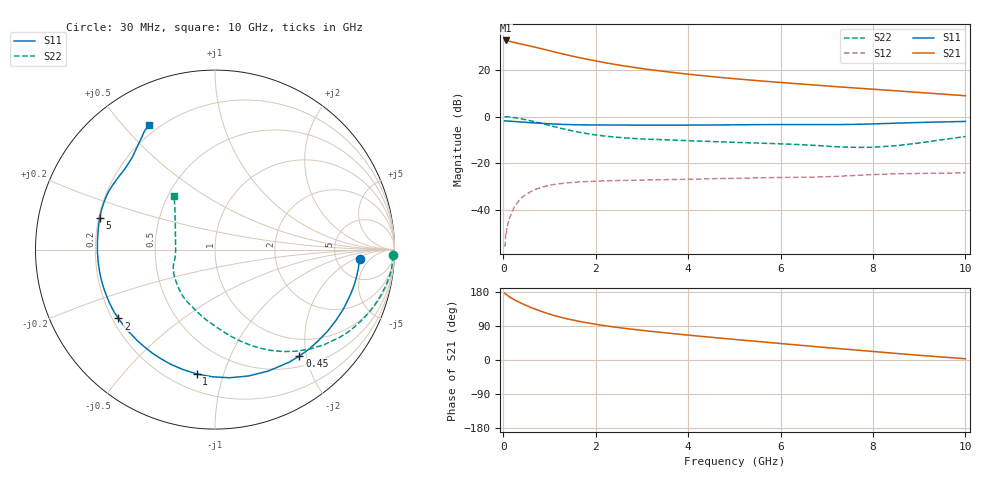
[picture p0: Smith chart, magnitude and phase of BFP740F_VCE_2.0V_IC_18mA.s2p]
! Infineon Technologies  Discrete & RF Semiconductors
! BFP740F
! VCE =  2.0 V,  IC =  18 mA
! Common Emitter S-Parameters:  Oct 2012
# GHz  S  MA  R  50
!  f  S11  S21  S12  S22
! GHz  MAG  ANG  MAG  ANG  MAG  ANG  MAG  ANG
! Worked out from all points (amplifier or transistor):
!   99 points, 30 MHz to 10 GHz, reference 50 ohm
!   highest |S21| = 32.5 dB at 50 MHz (marker M1)
!   |S21| within 3 dB of that: start of sweep to 712.4 MHz
!   unconditionally stable (mu >= 1): 6.005 GHz to end of sweep
!   at 350 MHz: K = 0.12, MSG = 33.4 dB, |S12| = -35.7 dB
!   at 3.5 GHz: K = 0.65, MSG = 23.1 dB, |S12| = -27.0 dB
!   at 10 GHz: K = 1.23, MAG = 13.6 dB, |S12| = -24.1 dB
!   S11 on the Smith chart (normalised r, x): 30 MHz: 8.64, -2.60; 450 MHz: 0.68, -1.88; 1 GHz: 0.30, -0.82; 2 GHz: 0.22, -0.31; 5 GHz: 0.20, +0.13; 10 GHz: 0.16, +0.59
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0.03  0.8084 -3.7  42.06 176.4  0.0018 90.4  0.9898 -1.9
0.05  0.8057 -6.1  42.18 174.5  0.0028 105.8  0.9911 -3.7
0.12  0.799 -15.1  40.85 168.0  0.0062 84.2  0.9807 -9.5
0.2  0.7886 -24.5  38.99 161.8  0.0096 78.3  0.9584 -15.5
0.3  0.7748 -35.7  36.94 155.2  0.0141 72.3  0.9254 -22.5
0.45  0.7568 -51.6  34.25 146.5  0.0202 64.9  0.8702 -32.1
0.6  0.7388 -66.3  31.74 138.6  0.0251 58.3  0.8071 -41.0
0.7  0.7285 -75.1  30.06 133.9  0.0279 53.9  0.7656 -46.4
0.8  0.7185 -83.6  28.49 129.3  0.0301 50.3  0.7237 -51.5
1  0.7001 -98.4  25.48 121.2  0.0339 43.7  0.6447 -60.7
1.3  0.6787 -116.4  21.61 111.1  0.0375 36.5  0.5442 -72.5
1.5  0.6694 -126.1  19.47 105.6  0.039 33.1  0.4927 -79.3
1.7  0.6636 -134.3  17.66 100.7  0.0403 30.4  0.4503 -85.5
2  0.6608 -144.5  15.43 94.4  0.0416 27.1  0.4051 -94.4
2.6  0.6562 -159.7  12.14 84.0  0.0432 23.0  0.3516 -108.8
3.4  0.6544 -173.9  9.415 73.0  0.0446 20.6  0.3213 -122.0
4.2  0.6568 174.9  7.662 63.4  0.0462 19.3  0.3002 -131.2
5  0.6655 164.8  6.435 54.4  0.0478 18.6  0.2812 -140.4
5.1  0.6672 163.7  6.309 53.3  0.048 18.5  0.2789 -141.7
6.7  0.673 145.5  4.733 35.9  0.0507 18.3  0.2427 -161.5
8.5  0.7212 126.7  3.542 17.4  0.0597 16.7  0.2379 158.1
10  0.7854 118.0  2.781 3.3  0.0624 12.2  0.3743 127.5
